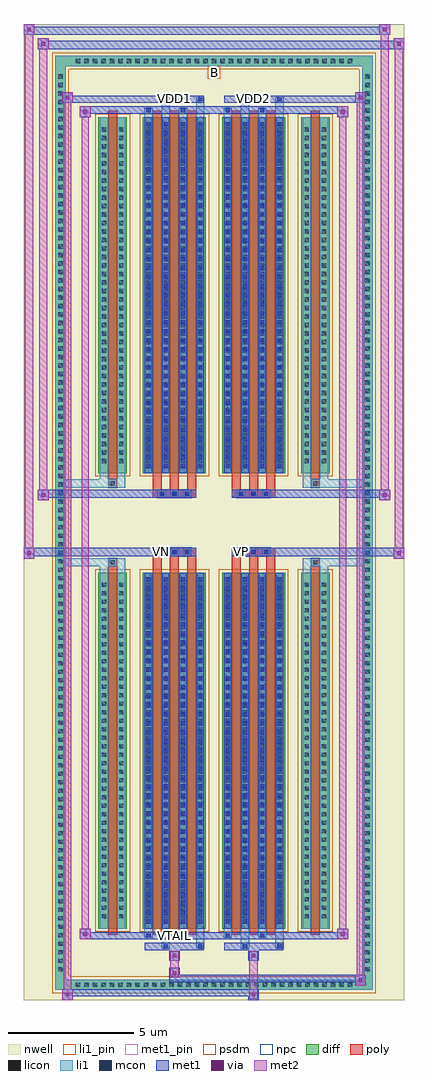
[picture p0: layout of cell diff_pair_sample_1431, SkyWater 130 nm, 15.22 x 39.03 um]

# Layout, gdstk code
import gdstk
lib = gdstk.Library(unit=1e-6, precision=5e-09)
def R(c, l, rs):  # rectangles x0, y0, x1, y1
    for r in rs: c.add(gdstk.rectangle(r[:2], r[2:], *l))
def A(c, l, x, y, w, h, nx, ny, dx, dy):  # array of equal rectangles
    R(c, l, [(x+i*dx, y+j*dy, x+i*dx+w, y+j*dy+h) for i in range(nx) for j in range(ny)])
def P(c, l, *ps):  # polygons
    for p in ps: c.add(gdstk.Polygon(p, *l))
nwell = (64, 20)
diff = (65, 20)
poly = (66, 20)
licon = (66, 44)
li1_pin = (67, 16)
li1 = (67, 20)
mcon = (67, 44)
met1_pin = (68, 16)
met1 = (68, 20)
via = (68, 44)
met2 = (69, 20)
psdm = (94, 20)
npc = (95, 20)

diff_pair_sample_1431 = lib.new_cell('diff_pair_sample_1431')
R(diff_pair_sample_1431, nwell, [(-7.61,-19.08,7.61,19.95), (-4.93,-17.27,-0.01,-0.795), (0.01,-17.27,4.93,-0.795), (-4.93,0.795,-0.01,17.27), (0.01,0.795,4.93,17.27)])
A(diff_pair_sample_1431, diff, -5.645, -18.68, 0.41, 0.41, 33, 2, 0.34, 36.95)
A(diff_pair_sample_1431, diff, -6.34, -18.055, 0.41, 0.41, 1, 106, 0, 0.34)
A(diff_pair_sample_1431, diff, 5.93, -18.055, 0.41, 0.41, 1, 106, 0, 0.34)
R(diff_pair_sample_1431, diff, [(-5.645,-18.68,5.645,-18.27), (-6.34,-18.055,-5.93,18.055), (5.93,-18.055,6.34,18.055), (-4.62,-16.225,-3.48,-1.985), (-2.84,-16.225,-0.32,-1.985), (0.32,-16.225,2.84,-1.985), (3.48,-16.225,4.62,-1.985), (-4.62,1.985,-3.48,16.225), (-2.84,1.985,-0.32,16.225), (0.32,1.985,2.84,16.225), (3.48,1.985,4.62,16.225), (-5.645,18.27,5.645,18.68)])
P(diff_pair_sample_1431, diff, [(6.34,18.68),(-6.34,18.68),(-6.34,-18.27),(-5.93,-18.27),(-5.93,18.27),(5.93,18.27),(5.93,-18.27),(-5.93,-18.27),(-6.34,-18.27),(-6.34,-18.68),(6.34,-18.68)])
A(diff_pair_sample_1431, poly, -2.45, -16.475, 0.36, 14.74, 3, 2, 0.69, 18.21)
A(diff_pair_sample_1431, poly, 0.71, -16.475, 0.36, 14.74, 3, 2, 0.69, 18.21)
A(diff_pair_sample_1431, poly, -2.45, -1.735, 0.36, 0.41, 3, 2, 0.69, 3.06)
A(diff_pair_sample_1431, poly, 0.71, -1.735, 0.36, 0.41, 3, 2, 0.69, 3.06)
A(diff_pair_sample_1431, poly, -2.245, -1.325, 0.33, 0.33, 3, 2, 0.5, 2.32)
A(diff_pair_sample_1431, poly, 0.915, -1.325, 0.33, 0.33, 3, 2, 0.5, 2.32)
R(diff_pair_sample_1431, poly, [(-4.23,-16.475,-3.87,-1.735), (3.87,-16.475,4.23,-1.735), (-4.215,-1.735,-3.885,-1.405), (-4.215,-1.735,-3.885,-1.405), (3.885,-1.735,4.215,-1.405), (3.885,-1.735,4.215,-1.405), (-2.45,-1.325,-0.71,-0.995), (0.71,-1.325,2.45,-0.995), (-2.45,0.995,-0.71,1.325), (0.71,0.995,2.45,1.325), (-4.215,1.405,-3.885,1.735), (-4.215,1.405,-3.885,1.735), (3.885,1.405,4.215,1.735), (3.885,1.405,4.215,1.735), (-4.23,1.735,-3.87,16.475), (3.87,1.735,4.23,16.475)])
A(diff_pair_sample_1431, licon, -5.525, -18.56, 0.17, 0.17, 33, 2, 0.34, 36.95)
A(diff_pair_sample_1431, licon, -6.22, -17.935, 0.17, 0.17, 1, 106, 0, 0.34)
A(diff_pair_sample_1431, licon, 6.05, -17.935, 0.17, 0.17, 1, 106, 0, 0.34)
A(diff_pair_sample_1431, licon, -4.48, -15.82, 0.17, 0.17, 1, 40, 0, 0.34)
A(diff_pair_sample_1431, licon, -3.79, -15.82, 0.17, 0.17, 1, 40, 0, 0.34)
A(diff_pair_sample_1431, licon, -2.7, -15.82, 0.17, 0.17, 4, 40, 0.69, 0.34)
A(diff_pair_sample_1431, licon, 0.46, -15.82, 0.17, 0.17, 4, 40, 0.69, 0.34)
A(diff_pair_sample_1431, licon, 3.62, -15.82, 0.17, 0.17, 1, 40, 0, 0.34)
A(diff_pair_sample_1431, licon, 4.31, -15.82, 0.17, 0.17, 1, 40, 0, 0.34)
A(diff_pair_sample_1431, licon, -2.165, -1.245, 0.17, 0.17, 3, 2, 0.5, 2.32)
A(diff_pair_sample_1431, licon, 0.995, -1.245, 0.17, 0.17, 3, 2, 0.5, 2.32)
A(diff_pair_sample_1431, licon, -4.48, 2.39, 0.17, 0.17, 1, 40, 0, 0.34)
A(diff_pair_sample_1431, licon, -3.79, 2.39, 0.17, 0.17, 1, 40, 0, 0.34)
A(diff_pair_sample_1431, licon, -2.7, 2.39, 0.17, 0.17, 4, 40, 0.69, 0.34)
A(diff_pair_sample_1431, licon, 0.46, 2.39, 0.17, 0.17, 4, 40, 0.69, 0.34)
A(diff_pair_sample_1431, licon, 3.62, 2.39, 0.17, 0.17, 1, 40, 0, 0.34)
A(diff_pair_sample_1431, licon, 4.31, 2.39, 0.17, 0.17, 1, 40, 0, 0.34)
R(diff_pair_sample_1431, licon, [(-4.135,-1.655,-3.965,-1.485), (3.965,-1.655,4.135,-1.485), (-4.135,1.485,-3.965,1.655), (3.965,1.485,4.135,1.655)])
R(diff_pair_sample_1431, li1_pin, [(-0.25,17.77,0.25,18.27)])
A(diff_pair_sample_1431, li1, -5.605, -18.64, 0.33, 0.33, 33, 2, 0.34, 36.95)
A(diff_pair_sample_1431, li1, -6.3, -18.015, 0.33, 0.33, 1, 106, 0, 0.34)
A(diff_pair_sample_1431, li1, 5.97, -18.015, 0.33, 0.33, 1, 106, 0, 0.34)
A(diff_pair_sample_1431, li1, -2.78, -16.225, 0.33, 14.24, 4, 2, 0.69, 18.21)
A(diff_pair_sample_1431, li1, 0.38, -16.225, 0.33, 14.24, 4, 2, 0.69, 18.21)
A(diff_pair_sample_1431, li1, -2.7, -16.03, 0.17, 0.17, 4, 39, 0.69, 0.36)
A(diff_pair_sample_1431, li1, -2.7, -16.03, 0.17, 13.85, 4, 2, 0.69, 18.21)
A(diff_pair_sample_1431, li1, 0.46, -16.03, 0.17, 0.17, 4, 39, 0.69, 0.36)
A(diff_pair_sample_1431, li1, 0.46, -16.03, 0.17, 13.85, 4, 2, 0.69, 18.21)
A(diff_pair_sample_1431, li1, -4.56, -15.9, 0.33, 0.33, 1, 40, 0, 0.34)
A(diff_pair_sample_1431, li1, -3.87, -15.9, 0.33, 0.33, 1, 40, 0, 0.34)
A(diff_pair_sample_1431, li1, -2.78, -15.9, 0.33, 0.33, 4, 40, 0.69, 0.34)
A(diff_pair_sample_1431, li1, 0.38, -15.9, 0.33, 0.33, 4, 40, 0.69, 0.34)
A(diff_pair_sample_1431, li1, 3.54, -15.9, 0.33, 0.33, 1, 40, 0, 0.34)
A(diff_pair_sample_1431, li1, 4.23, -15.9, 0.33, 0.33, 1, 40, 0, 0.34)
A(diff_pair_sample_1431, li1, -2.245, -1.325, 0.33, 0.33, 3, 2, 0.5, 2.32)
A(diff_pair_sample_1431, li1, 0.915, -1.325, 0.33, 0.33, 3, 2, 0.5, 2.32)
A(diff_pair_sample_1431, li1, -2.7, 2.18, 0.17, 0.17, 4, 39, 0.69, 0.36)
A(diff_pair_sample_1431, li1, 0.46, 2.18, 0.17, 0.17, 4, 39, 0.69, 0.36)
A(diff_pair_sample_1431, li1, -4.56, 2.31, 0.33, 0.33, 1, 40, 0, 0.34)
A(diff_pair_sample_1431, li1, -3.87, 2.31, 0.33, 0.33, 1, 40, 0, 0.34)
A(diff_pair_sample_1431, li1, -2.78, 2.31, 0.33, 0.33, 4, 40, 0.69, 0.34)
A(diff_pair_sample_1431, li1, 0.38, 2.31, 0.33, 0.33, 4, 40, 0.69, 0.34)
A(diff_pair_sample_1431, li1, 3.54, 2.31, 0.33, 0.33, 1, 40, 0, 0.34)
A(diff_pair_sample_1431, li1, 4.23, 2.31, 0.33, 0.33, 1, 40, 0, 0.34)
R(diff_pair_sample_1431, li1, [(-6.34,-18.68,-5.93,-18.27), (-6.34,-18.68,-5.93,-18.27), (-5.93,-18.68,5.93,-18.27), (5.93,-18.68,6.34,-18.27), (5.93,-18.68,6.34,-18.27), (-6.34,-18.27,-5.93,18.27), (5.93,-18.27,6.34,18.27), (-2.09,-17.03,-1.76,-16.225), (-2.01,-17.03,-1.84,-16.86), (-0.71,-17.03,-0.38,-16.225), (-0.63,-17.03,-0.46,-16.86), (1.07,-17.03,1.4,-16.225), (1.15,-17.03,1.32,-16.86), (2.45,-17.03,2.78,-16.225), (2.53,-17.03,2.7,-16.86), (-2.78,-16.6,-2.45,-16.225), (-2.7,-16.6,-2.53,-16.43), (-1.4,-16.6,-1.07,-16.225), (-1.32,-16.6,-1.15,-16.43), (0.38,-16.6,0.71,-16.225), (0.46,-16.6,0.63,-16.43), (1.76,-16.6,2.09,-16.225), (1.84,-16.6,2.01,-16.43), (-4.56,-16.225,-4.23,-1.985), (-3.87,-16.225,-3.54,-1.985), (3.54,-16.225,3.87,-1.985), (4.23,-16.225,4.56,-1.985), (-4.56,-1.985,-4.23,-1.405), (-3.87,-1.985,-3.54,-1.405), (3.54,-1.985,3.87,-1.405), (4.23,-1.985,4.56,-1.405), (-6.34,-1.735,-4.215,-1.405), (-4.56,-1.735,-4.215,-1.405), (-4.215,-1.735,-3.885,-1.405), (-3.885,-1.735,-3.54,-1.405), (3.54,-1.735,3.885,-1.405), (3.885,-1.735,4.215,-1.405), (3.885,-1.735,6.34,-1.405), (4.215,-1.735,4.56,-1.405), (-6.34,1.405,-4.215,1.735), (-4.56,1.405,-4.215,1.735), (-4.56,1.405,-4.23,1.985), (-4.215,1.405,-3.885,1.735), (-3.885,1.405,-3.54,1.735), (-3.87,1.405,-3.54,1.985), (3.54,1.405,3.885,1.735), (3.54,1.405,3.87,1.985), (3.885,1.405,4.215,1.735), (3.885,1.405,6.34,1.735), (4.215,1.405,4.56,1.735), (4.23,1.405,4.56,1.985), (-4.56,1.985,-4.23,16.225), (-3.87,1.985,-3.54,16.225), (3.54,1.985,3.87,16.225), (4.23,1.985,4.56,16.225), (-2.78,16.225,-2.45,16.6), (-2.09,16.225,-1.76,17.03), (-1.4,16.225,-1.07,16.6), (-0.71,16.225,-0.38,17.03), (0.38,16.225,0.71,16.6), (1.07,16.225,1.4,17.03), (1.76,16.225,2.09,16.6), (2.45,16.225,2.78,17.03), (-2.7,16.43,-2.53,16.6), (-1.32,16.43,-1.15,16.6), (0.46,16.43,0.63,16.6), (1.84,16.43,2.01,16.6), (-2.01,16.86,-1.84,17.03), (-0.63,16.86,-0.46,17.03), (1.15,16.86,1.32,17.03), (2.53,16.86,2.7,17.03), (-6.34,18.27,-5.93,18.68), (-6.34,18.27,-5.93,18.68), (-5.93,18.27,5.93,18.68), (5.93,18.27,6.34,18.68), (5.93,18.27,6.34,18.68)])
A(diff_pair_sample_1431, mcon, -2.7, -16.03, 0.17, 0.17, 4, 39, 0.69, 0.36)
A(diff_pair_sample_1431, mcon, 0.46, -16.03, 0.17, 0.17, 4, 39, 0.69, 0.36)
A(diff_pair_sample_1431, mcon, -2.165, -1.245, 0.17, 0.17, 3, 2, 0.5, 2.32)
A(diff_pair_sample_1431, mcon, 0.995, -1.245, 0.17, 0.17, 3, 2, 0.5, 2.32)
A(diff_pair_sample_1431, mcon, -2.7, 2.18, 0.17, 0.17, 4, 39, 0.69, 0.36)
A(diff_pair_sample_1431, mcon, 0.46, 2.18, 0.17, 0.17, 4, 39, 0.69, 0.36)
R(diff_pair_sample_1431, mcon, [(-2.01,-17.03,-1.84,-16.86), (-0.63,-17.03,-0.46,-16.86), (1.15,-17.03,1.32,-16.86), (2.53,-17.03,2.7,-16.86), (-2.7,-16.6,-2.53,-16.43), (-1.32,-16.6,-1.15,-16.43), (0.46,-16.6,0.63,-16.43), (1.84,-16.6,2.01,-16.43), (-2.7,16.43,-2.53,16.6), (-1.32,16.43,-1.15,16.6), (0.46,16.43,0.63,16.6), (1.84,16.43,2.01,16.6), (-2.01,16.86,-1.84,17.03), (-0.63,16.86,-0.46,17.03), (1.15,16.86,1.32,17.03), (2.53,16.86,2.7,17.03)])
R(diff_pair_sample_1431, met1_pin, [(-1.715,-16.64,-1.445,-16.37), (-2.215,-1.285,-1.945,-1.015), (0.945,-1.285,1.215,-1.015), (-1.715,16.82,-1.445,17.09), (1.445,16.82,1.715,17.09)])
A(diff_pair_sample_1431, met1, -2.76, -16.225, 0.29, 14.24, 4, 2, 0.69, 18.21)
A(diff_pair_sample_1431, met1, 0.4, -16.225, 0.29, 14.24, 4, 2, 0.69, 18.21)
A(diff_pair_sample_1431, met1, -2.76, -16.09, 0.29, 0.29, 4, 39, 0.69, 0.36)
A(diff_pair_sample_1431, met1, 0.4, -16.09, 0.29, 0.29, 4, 39, 0.69, 0.36)
A(diff_pair_sample_1431, met1, -2.225, -1.305, 0.29, 0.29, 3, 2, 0.5, 2.32)
A(diff_pair_sample_1431, met1, 0.935, -1.305, 0.29, 0.29, 3, 2, 0.5, 2.32)
A(diff_pair_sample_1431, met1, -2.76, 2.12, 0.29, 0.29, 4, 39, 0.69, 0.36)
A(diff_pair_sample_1431, met1, 0.4, 2.12, 0.29, 0.29, 4, 39, 0.69, 0.36)
R(diff_pair_sample_1431, met1, [(-6.07,-19.08,-5.64,-18.65), (1.365,-19.08,1.795,-18.65), (-6.07,-18.94,1.795,-18.65), (5.64,-18.51,6.07,-18.08), (-1.795,-18.37,6.07,-18.08), (-1.795,-18.23,-1.365,-17.8), (-1.795,-17.52,-1.365,-17.09), (1.365,-17.52,1.795,-17.09), (-2.76,-17.09,-0.4,-16.8), (-2.07,-17.09,-1.78,-16.8), (-0.69,-17.09,-0.4,-16.8), (0.4,-17.09,2.76,-16.8), (1.09,-17.09,1.38,-16.8), (2.47,-17.09,2.76,-16.8), (-5.36,-16.66,-4.93,-16.23), (-5.36,-16.66,-2.76,-16.37), (-2.76,-16.66,-2.47,-16.37), (-2.76,-16.66,-0.4,-16.37), (-1.38,-16.66,-1.09,-16.37), (-0.4,-16.66,0.4,-16.37), (0.4,-16.66,0.69,-16.37), (0.4,-16.66,2.76,-16.37), (1.78,-16.66,2.07,-16.37), (2.76,-16.66,5.36,-16.37), (4.93,-16.66,5.36,-16.23), (-7.61,-1.425,-7.18,-0.995), (7.18,-1.425,7.61,-0.995), (-7.61,-1.325,-0.71,-0.995), (-2.45,-1.325,-0.71,-0.995), (0.71,-1.325,2.45,-0.995), (0.71,-1.325,7.61,-0.995), (-7.04,0.895,-6.61,1.325), (6.61,0.895,7.04,1.325), (-7.04,0.995,-2.45,1.325), (-2.45,0.995,-0.71,1.325), (0.71,0.995,2.45,1.325), (2.45,0.995,7.04,1.325), (-5.36,16.23,-4.93,16.66), (4.93,16.23,5.36,16.66), (-5.36,16.37,-2.76,16.66), (-2.76,16.37,-2.47,16.66), (-2.76,16.37,-0.4,16.66), (-1.38,16.37,-1.09,16.66), (-0.4,16.37,0.4,16.66), (0.4,16.37,0.69,16.66), (0.4,16.37,2.76,16.66), (1.78,16.37,2.07,16.66), (2.76,16.37,5.36,16.66), (-6.07,16.8,-5.64,17.23), (-6.07,16.8,-2.76,17.09), (-2.76,16.8,-0.4,17.09), (-2.07,16.8,-1.78,17.09), (-0.69,16.8,-0.4,17.09), (0.4,16.8,2.76,17.09), (1.09,16.8,1.38,17.09), (2.47,16.8,2.76,17.09), (2.76,16.8,6.07,17.09), (5.64,16.8,6.07,17.23), (-7.04,18.95,-6.61,19.38), (-7.04,18.95,-4.93,19.28), (-4.93,18.95,4.93,19.28), (4.93,18.95,7.61,19.28), (7.18,18.95,7.61,19.38), (-7.61,19.52,-7.18,19.95), (-7.61,19.52,-4.93,19.85), (-4.93,19.52,4.93,19.85), (4.93,19.52,7.04,19.85), (6.61,19.52,7.04,19.95)])
R(diff_pair_sample_1431, via, [(-5.93,-18.94,-5.78,-18.79), (1.505,-18.94,1.655,-18.79), (5.78,-18.37,5.93,-18.22), (-1.655,-18.09,-1.505,-17.94), (-1.655,-17.38,-1.505,-17.23), (1.505,-17.38,1.655,-17.23), (-5.22,-16.52,-5.07,-16.37), (5.07,-16.52,5.22,-16.37), (-7.47,-1.285,-7.32,-1.135), (7.32,-1.285,7.47,-1.135), (-6.9,1.035,-6.75,1.185), (6.75,1.035,6.9,1.185), (-5.22,16.37,-5.07,16.52), (5.07,16.37,5.22,16.52), (-5.93,16.94,-5.78,17.09), (5.78,16.94,5.93,17.09), (-6.9,19.09,-6.75,19.24), (7.32,19.09,7.47,19.24), (-7.47,19.66,-7.32,19.81), (6.75,19.66,6.9,19.81)])
R(diff_pair_sample_1431, met2, [(-6.07,-19.08,-5.64,-18.65), (-6,-19.08,-5.71,17.23), (-5.71,-19.08,-5.64,-18.65), (-6.02,-19.03,-5.69,-18.7), (1.415,-19.03,1.745,-18.7), (1.415,-18.7,1.745,-17.47), (5.64,-18.51,6.07,-18.08), (5.71,-18.51,6,17.23), (6,-18.51,6.07,-18.08), (5.69,-18.46,6.02,-18.13), (-1.745,-18.18,-1.415,-17.85), (-1.745,-17.85,-1.415,-17.47), (-1.745,-17.47,-1.415,-17.14), (1.415,-17.47,1.745,-17.14), (-5.36,-16.66,-4.93,-16.23), (-5.29,-16.66,-5,16.66), (-5,-16.66,-4.93,-16.23), (4.93,-16.66,5.36,-16.23), (5,-16.66,5.29,16.66), (5.29,-16.66,5.36,-16.23), (-5.31,-16.61,-4.98,-16.28), (4.98,-16.61,5.31,-16.28), (-7.61,-1.425,-7.18,-0.995), (-7.56,-1.425,-7.23,19.95), (-7.23,-1.425,-7.18,-0.995), (7.18,-1.425,7.61,-0.995), (7.23,-1.425,7.56,19.38), (7.56,-1.425,7.61,-0.995), (-7.56,-1.375,-7.23,-1.045), (7.23,-1.375,7.56,-1.045), (-7.04,0.895,-6.61,1.325), (-6.99,0.895,-6.66,19.38), (-6.66,0.895,-6.61,1.325), (6.61,0.895,7.04,1.325), (6.66,0.895,6.99,19.95), (6.99,0.895,7.04,1.325), (-6.99,0.945,-6.66,1.275), (6.66,0.945,6.99,1.275), (-5.36,16.23,-4.93,16.66), (-5,16.23,-4.93,16.66), (4.93,16.23,5.36,16.66), (5.29,16.23,5.36,16.66), (-5.31,16.28,-4.98,16.61), (4.98,16.28,5.31,16.61), (-6.07,16.8,-5.64,17.23), (-5.71,16.8,-5.64,17.23), (5.64,16.8,6.07,17.23), (6,16.8,6.07,17.23), (-6.02,16.85,-5.69,17.18), (5.69,16.85,6.02,17.18), (-7.04,18.95,-6.61,19.38), (-6.66,18.95,-6.61,19.38), (7.18,18.95,7.61,19.38), (7.56,18.95,7.61,19.38), (-6.99,19,-6.66,19.33), (7.23,19,7.56,19.33), (-7.61,19.52,-7.18,19.95), (-7.23,19.52,-7.18,19.95), (6.61,19.52,7.04,19.95), (6.99,19.52,7.04,19.95), (-7.56,19.57,-7.23,19.9), (6.66,19.57,6.99,19.9)])
R(diff_pair_sample_1431, psdm, [(-4.75,-16.355,-3.35,-1.855), (-2.97,-16.355,-0.19,-1.855), (0.19,-16.355,2.97,-1.855), (3.35,-16.355,4.75,-1.855), (-4.75,1.855,-3.35,16.355), (-2.97,1.855,-0.19,16.355), (0.19,1.855,2.97,16.355), (3.35,1.855,4.75,16.355)])
P(diff_pair_sample_1431, psdm, [(6.47,18.81),(-6.47,18.81),(-6.47,-18.14),(-5.8,-18.14),(-5.8,18.14),(5.8,18.14),(5.8,-18.14),(-5.8,-18.14),(-6.47,-18.14),(-6.47,-18.81),(6.47,-18.81)])
A(diff_pair_sample_1431, npc, -2.265, -1.345, 0.37, 0.37, 3, 2, 0.5, 2.32)
A(diff_pair_sample_1431, npc, 0.895, -1.345, 0.37, 0.37, 3, 2, 0.5, 2.32)
R(diff_pair_sample_1431, npc, [(-4.235,-1.755,-3.865,-1.385), (3.865,-1.755,4.235,-1.385), (-2.265,-1.345,-1.395,-0.975), (-2.265,-1.345,-1.395,-0.975), (-1.765,-1.345,-0.895,-0.975), (-1.765,-1.345,-0.895,-0.975), (0.895,-1.345,1.765,-0.975), (0.895,-1.345,1.765,-0.975), (1.395,-1.345,2.265,-0.975), (1.395,-1.345,2.265,-0.975), (-2.265,0.975,-1.395,1.345), (-2.265,0.975,-1.395,1.345), (-1.765,0.975,-0.895,1.345), (-1.765,0.975,-0.895,1.345), (0.895,0.975,1.765,1.345), (0.895,0.975,1.765,1.345), (1.395,0.975,2.265,1.345), (1.395,0.975,2.265,1.345), (-4.235,1.385,-3.865,1.755), (3.865,1.385,4.235,1.755)])
diff_pair_sample_1431.add(gdstk.Label('VTAIL', (-1.58,-16.505), layer=68, texttype=5))
diff_pair_sample_1431.add(gdstk.Label('VN', (-2.08,-1.15), layer=68, texttype=5))
diff_pair_sample_1431.add(gdstk.Label('VP', (1.08,-1.15), layer=68, texttype=5))
diff_pair_sample_1431.add(gdstk.Label('B', (0,18.02), layer=67, texttype=5))
diff_pair_sample_1431.add(gdstk.Label('VDD2', (1.58,16.955), layer=68, texttype=5))
diff_pair_sample_1431.add(gdstk.Label('VDD1', (-1.58,16.955), layer=68, texttype=5))

lib.write_gds('diff_pair_sample_1431.gds')
